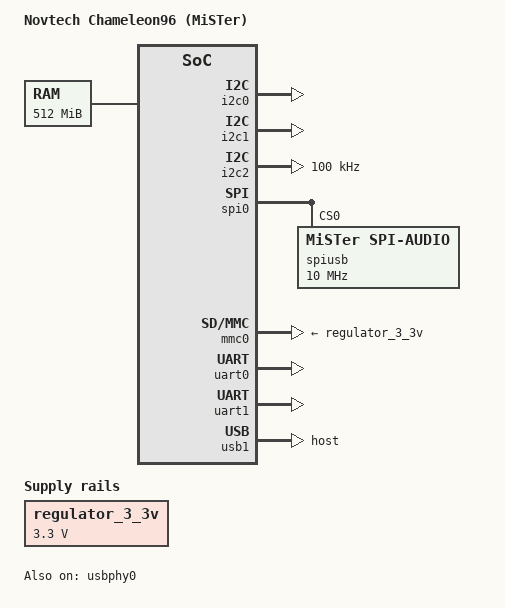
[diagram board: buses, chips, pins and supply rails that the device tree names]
// SPDX-License-Identifier: (GPL-2.0 OR MIT)
/*
 * Chameleon96 for the MiSTer kernel / linux.img.
 *
 * Board description from teiram/linux-socfpga (chameleon96 branch,
 * socfpga_cyclone5_chameleon96.dts) plus the MiSTer nodes of
 * socfpga_cyclone5_de10_nano.dts that apply to this board.
 *
 * Memory map (as in Main_MiSTer_ch96):
 *   0x00000000-0x0FFFFFFF  Linux (256MB)
 *   0x10000000-0x1FFFFFFF  reserved, no-map: ao486 DDR window (0x10000000),
 *                          core DDR, scaler/framebuffer (0x1D000000) and
 *                          the U-Boot <-> Main flags page (0x1FFFF000)
 */

/dts-v1/;

#include <dt-bindings/gpio/gpio.h>
#include "socfpga_cyclone5.dtsi"

/ {
	model = "Novtech Chameleon96 (MiSTer)";
	compatible = "novtech,chameleon96", "altr,socfpga-cyclone5", "altr,socfpga";

	chosen {
		bootargs = "earlyprintk";
		stdout-path = "serial0:115200n8";
	};

	memory@0 {
		name = "memory";
		device_type = "memory";
		reg = <0x0 0x20000000>; /* 512MB */
	};

	reserved-memory {
		#address-cells = <1>;
		#size-cells = <1>;
		ranges;

		mister_reserved@10000000 {
			reg = <0x10000000 0x10000000>;
			no-map;
		};
	};

	regulator_3_3v: regulator {
		compatible = "regulator-fixed";
		regulator-name = "3.3V";
		regulator-min-microvolt = <3300000>;
		regulator-max-microvolt = <3300000>;
	};

	/* No gpio-leds: the four user LEDs (HPS GPIO14/22/25/32) are muxed to
	 * LoanIO and driven by the FPGA (ch96_top.sv). */

	MiSTer_fb {
		compatible = "MiSTer_fb";
		reg = <0x1D000000 0x800000>;
		interrupt-parent = <&intc>;
		interrupts = < 0 40 1 >;
	};
};

&gpio0 {
	status = "okay";
};

&gpio1 {
	status = "okay";
};

&i2c0 {
	/* On Low speed expansion */
	status = "okay";
};

&i2c1 {
	/* On Low speed expansion */
	status = "okay";
};

&i2c2 {
	/* TDA19988 HDMI transmitter, programmed from userspace (Main_MiSTer) */
	status = "okay";
	clock-frequency = <100000>;
	speed-mode = <0>;
};

/*
 * Sonido de Linux (MidiLink: FluidSynth/MUNT, MP3...), como en la DE10. El
 * driver deja el audio en un búfer de la RAM de Linux y le pasa su dirección a
 * la FPGA por el SPI interno del HPS (spim0, sin pines); alsa.sv lo lee y lo
 * mezcla con el sonido del core. Solo suena con cores compilados sin
 * MISTER_DISABLE_ALSA; con los demás no hace nada.
 */
&spi0 {
	status = "okay";
	timeouts = <3>;
	spiusb@0 {
		compatible = "MiSTer,spi-audio";
		reg = <0>;
		spi-max-frequency = <10000000>;
		spi-cpha;
		spi-cpol;
		status = "okay";
	};
};

&mmc0 {
	vmmc-supply = <&regulator_3_3v>;
	vqmmc-supply = <&regulator_3_3v>;
	status = "okay";
};

&uart0 {
	/* serial console */
	/delete-property/dmas;
	/delete-property/dma-names;
	status = "okay";
};

&uart1 {
	/delete-property/dmas;
	/delete-property/dma-names;
	status = "okay";
};

&usbphy0 {
	status = "okay";
};

&usb1 {
	disable-over-current;
	dr_mode = "host";
	status = "okay";
};

&fpga_bridge0 {
	status = "okay";
};

&fpga_bridge1 {
	status = "okay";
};

&fpga_bridge2 {
	status = "okay";
};

&ocram {
	#address-cells = <1>;
	#size-cells = <1>;
	ranges = <0 0xffff0000 0x10000>;

	flags-sram@f000 {
		reg = <0xf000 0x1000>;
	};
};
